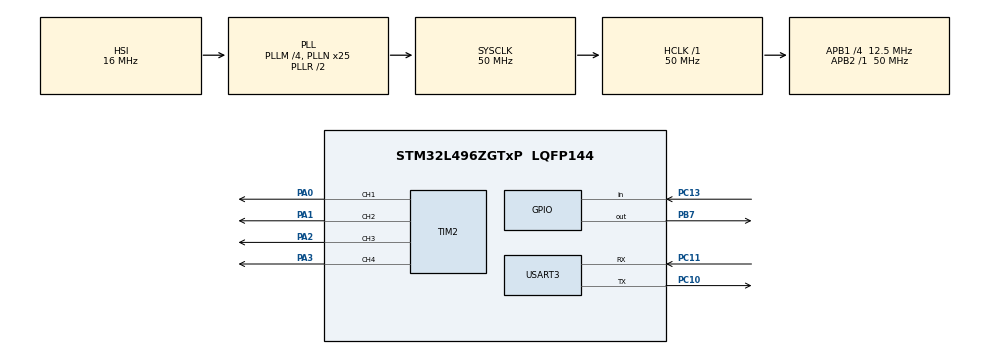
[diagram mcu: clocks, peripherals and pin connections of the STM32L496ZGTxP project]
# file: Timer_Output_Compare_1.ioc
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Mcu.Family=STM32L4
Mcu.Name=STM32L496ZGTxP
Mcu.Package=LQFP144
NVIC.PriorityGroup=NVIC_PRIORITYGROUP_4
NVIC.TIM2_IRQn=true\:0\:0\:false\:false\:true\:true\:true\:true
NVIC.USART3_IRQn=true\:0\:0\:false\:false\:true\:true\:true\:true
PA0.Signal=S_TIM2_CH1
PA1.Signal=S_TIM2_CH2
PA2.Signal=S_TIM2_CH3
PA3.Signal=S_TIM2_CH4
PB7.Signal=GPIO_Output
PC10.Mode=Asynchronous
PC10.Signal=USART3_TX
PC11.Mode=Asynchronous
PC11.Signal=USART3_RX
PC13.Signal=GPIO_Input
ProjectManager.HeapSize=0x200
ProjectManager.StackSize=0x400
ProjectManager.TargetToolchain=STM32CubeIDE
RCC.48MHZClocksFreq_Value=24000000
RCC.ADCFreq_Value=40000000
RCC.AHBFreq_Value=50000000
RCC.APB1CLKDivider=RCC_HCLK_DIV4
RCC.APB1Freq_Value=12500000
RCC.APB1TimFreq_Value=25000000
RCC.APB2Freq_Value=50000000
RCC.APB2TimFreq_Value=50000000
RCC.CortexFreq_Value=50000000
RCC.HCLKFreq_Value=50000000
RCC.HSE_VALUE=8000000
RCC.HSI48_VALUE=48000000
RCC.HSI_VALUE=16000000
RCC.LSE_VALUE=32768
RCC.MSI_VALUE=4000000
RCC.PLLM=4
RCC.PLLMUL=RCC_PLL_MUL9
RCC.PLLN=25
RCC.PLLSAI1N=20
RCC.PLLSourceVirtual=RCC_PLLSOURCE_HSI
RCC.PRESCALERUSB=RCC_USBCLKSOURCE_PLL_DIV1_5
RCC.SYSCLKFreq_VALUE=50000000
RCC.SYSCLKSource=RCC_SYSCLKSOURCE_PLLCLK
RCC.SYSCLKSourceVirtual=RCC_SYSCLKSOURCE_PLLCLK
RCC.USBFreq_Value=40000000
RCC.VCOOutputFreq_Value=100000000
SH.S_TIM2_CH1.0=TIM2_CH1,Output Compare1 CH1
SH.S_TIM2_CH2.0=TIM2_CH2,Output Compare2 CH2
SH.S_TIM2_CH3.0=TIM2_CH3,Output Compare3 CH3
SH.S_TIM2_CH4.0=TIM2_CH4,Output Compare4 CH4
TIM2.Channel-Output\ Compare1\ CH1=TIM_CHANNEL_1
TIM2.Channel-Output\ Compare2\ CH2=TIM_CHANNEL_2
TIM2.Channel-Output\ Compare3\ CH3=TIM_CHANNEL_3
TIM2.Channel-Output\ Compare4\ CH4=TIM_CHANNEL_4
TIM2.OCMode_1=TIM_OCMODE_TOGGLE
TIM2.OCMode_2=TIM_OCMODE_TOGGLE
TIM2.OCMode_3=TIM_OCMODE_TOGGLE
TIM2.OCMode_4=TIM_OCMODE_TOGGLE
TIM2.Pulse-Output\ Compare1\ CH1=25000
USART3.VirtualMode-Asynchronous=VM_ASYNC
board=NUCLEO-L496ZG-P

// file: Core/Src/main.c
/* USER CODE BEGIN Header */
/**
  ******************************************************************************
  * @file           : main.c
  * @brief          : Main program body
  ******************************************************************************
  * @attention
  *
  * Copyright (c) 2023 STMicroelectronics.
  * All rights reserved.
  *
  * This software is licensed under terms that can be found in the LICENSE file
  * in the root directory of this software component.
  * If no LICENSE file comes with this software, it is provided AS-IS.
  *
  ******************************************************************************
  */
/* USER CODE END Header */
#include "main.h"

/* USER CODE BEGIN Includes */
#include<string.h>
#include<stdio.h>
/* USER CODE END Includes */

/* USER CODE BEGIN PM */
#define TRUE 1
#define FALSE 0
/* USER CODE END PM */

TIM_HandleTypeDef htim2;

UART_HandleTypeDef huart3;

/* USER CODE BEGIN PV */
uint32_t pulse1_value = 25000; //to produce 500Hz
uint32_t pulse2_value = 12500; // to produce 1000Hz
uint32_t pulse3_value = 6250; // to produce 2000Hz
uint32_t pulse4_value = 3125; // to produce 4000Hz

/* USER CODE END PV */

void SystemClock_Config(void);
static void MX_GPIO_Init(void);
static void MX_TIM2_Init(void);
static void MX_USART3_UART_Init(void);

int main(void)
{
  /* USER CODE BEGIN 1 */
char msg[100];
  /* USER CODE END 1 */

  /* MCU Configuration--------------------------------------------------------*/

  /* Reset of all peripherals, Initializes the Flash interface and the Systick. */
  HAL_Init();

  /* Configure the system clock */
  SystemClock_Config();

  /* Initialize all configured peripherals */
  MX_GPIO_Init();
  MX_TIM2_Init();
  MX_USART3_UART_Init();
  /* USER CODE BEGIN 2 */

strcpy(msg,"\n\rApplication is Running");
HAL_UART_Transmit(&huart3, (uint8_t*)msg, strlen(msg), HAL_MAX_DELAY);
  /* USER CODE END 2 */

  /* Infinite loop */
  while (1)
  {

    /* USER CODE BEGIN 3 */
	  while( ! HAL_GPIO_ReadPin(GPIOC, GPIO_PIN_13));
	  HAL_Delay(200);
	  strcpy(msg,"\n\rIn a while Loop");
	  HAL_UART_Transmit(&huart3, (uint8_t*)msg, strlen(msg), HAL_MAX_DELAY);

	  if( HAL_TIM_OC_Start_IT(&htim2, TIM_CHANNEL_1) != HAL_OK ){

		  Error_Handler();
	  }
	  if( HAL_TIM_OC_Start_IT(&htim2, TIM_CHANNEL_2) != HAL_OK ){

		  Error_Handler();
	  }
	  if( HAL_TIM_OC_Start_IT(&htim2, TIM_CHANNEL_3) != HAL_OK ){

		  Error_Handler();
	  }
	  if( HAL_TIM_OC_Start_IT(&htim2, TIM_CHANNEL_4) != HAL_OK ){

		  Error_Handler();
	  }

  }
  /* USER CODE END 3 */
}

void SystemClock_Config(void)
{
  RCC_OscInitTypeDef RCC_OscInitStruct = {0};
  RCC_ClkInitTypeDef RCC_ClkInitStruct = {0};

  /** Configure the main internal regulator output voltage
  */
  if (HAL_PWREx_ControlVoltageScaling(PWR_REGULATOR_VOLTAGE_SCALE1) != HAL_OK)
  {
    Error_Handler();
  }

  /** Initializes the RCC Oscillators according to the specified parameters
  * in the RCC_OscInitTypeDef structure.
  */
  RCC_OscInitStruct.OscillatorType = RCC_OSCILLATORTYPE_HSI;
  RCC_OscInitStruct.HSIState = RCC_HSI_ON;
  RCC_OscInitStruct.HSICalibrationValue = RCC_HSICALIBRATION_DEFAULT;
  RCC_OscInitStruct.PLL.PLLState = RCC_PLL_ON;
  RCC_OscInitStruct.PLL.PLLSource = RCC_PLLSOURCE_HSI;
  RCC_OscInitStruct.PLL.PLLM = 4;
  RCC_OscInitStruct.PLL.PLLN = 25;
  RCC_OscInitStruct.PLL.PLLP = RCC_PLLP_DIV2;
  RCC_OscInitStruct.PLL.PLLQ = RCC_PLLQ_DIV2;
  RCC_OscInitStruct.PLL.PLLR = RCC_PLLR_DIV2;
  if (HAL_RCC_OscConfig(&RCC_OscInitStruct) != HAL_OK)
  {
    Error_Handler();
  }

  /** Initializes the CPU, AHB and APB buses clocks
  */
  RCC_ClkInitStruct.ClockType = RCC_CLOCKTYPE_HCLK|RCC_CLOCKTYPE_SYSCLK
                              |RCC_CLOCKTYPE_PCLK1|RCC_CLOCKTYPE_PCLK2;
  RCC_ClkInitStruct.SYSCLKSource = RCC_SYSCLKSOURCE_PLLCLK;
  RCC_ClkInitStruct.AHBCLKDivider = RCC_SYSCLK_DIV1;
  RCC_ClkInitStruct.APB1CLKDivider = RCC_HCLK_DIV4;
  RCC_ClkInitStruct.APB2CLKDivider = RCC_HCLK_DIV1;

  if (HAL_RCC_ClockConfig(&RCC_ClkInitStruct, FLASH_LATENCY_3) != HAL_OK)
  {
    Error_Handler();
  }
}

static void MX_TIM2_Init(void)
{

  TIM_MasterConfigTypeDef sMasterConfig = {0};
  TIM_OC_InitTypeDef sConfigOC = {0};

  htim2.Instance = TIM2;
  htim2.Init.Prescaler = 0;
  htim2.Init.CounterMode = TIM_COUNTERMODE_UP;
  htim2.Init.Period = 4294967295;
  htim2.Init.ClockDivision = TIM_CLOCKDIVISION_DIV1;
  htim2.Init.AutoReloadPreload = TIM_AUTORELOAD_PRELOAD_DISABLE;
  if (HAL_TIM_OC_Init(&htim2) != HAL_OK)
  {
	  Error_Handler();
  }
  sMasterConfig.MasterOutputTrigger = TIM_TRGO_RESET;
  sMasterConfig.MasterSlaveMode = TIM_MASTERSLAVEMODE_DISABLE;
  if (HAL_TIMEx_MasterConfigSynchronization(&htim2, &sMasterConfig) != HAL_OK)
  {
	  Error_Handler();
  }
  sConfigOC.OCMode = TIM_OCMODE_TOGGLE;
  sConfigOC.Pulse = pulse1_value;
  sConfigOC.OCPolarity = TIM_OCPOLARITY_HIGH;
  sConfigOC.OCFastMode = TIM_OCFAST_DISABLE;
  if (HAL_TIM_OC_ConfigChannel(&htim2, &sConfigOC, TIM_CHANNEL_1) != HAL_OK)
  {
    Error_Handler();
  }

  sConfigOC.Pulse = pulse2_value;
  if (HAL_TIM_OC_ConfigChannel(&htim2, &sConfigOC, TIM_CHANNEL_2) != HAL_OK)
  {
    Error_Handler();
  }

  sConfigOC.Pulse = pulse3_value;
  if (HAL_TIM_OC_ConfigChannel(&htim2, &sConfigOC, TIM_CHANNEL_3) != HAL_OK)
  {
    Error_Handler();
  }

  sConfigOC.Pulse = pulse4_value;
  if (HAL_TIM_OC_ConfigChannel(&htim2, &sConfigOC, TIM_CHANNEL_4) != HAL_OK)
  {
    Error_Handler();
  }
  HAL_TIM_MspPostInit(&htim2);

}

static void MX_USART3_UART_Init(void)
{

  huart3.Instance = USART3;
  huart3.Init.BaudRate = 115200;
  huart3.Init.WordLength = UART_WORDLENGTH_8B;
  huart3.Init.StopBits = UART_STOPBITS_1;
  huart3.Init.Parity = UART_PARITY_NONE;
  huart3.Init.Mode = UART_MODE_TX_RX;
  huart3.Init.HwFlowCtl = UART_HWCONTROL_NONE;
  huart3.Init.OverSampling = UART_OVERSAMPLING_16;
  huart3.Init.OneBitSampling = UART_ONE_BIT_SAMPLE_DISABLE;
  huart3.AdvancedInit.AdvFeatureInit = UART_ADVFEATURE_NO_INIT;
  if (HAL_UART_Init(&huart3) != HAL_OK)
  {
    Error_Handler();
  }

}

static void MX_GPIO_Init(void)
{
  GPIO_InitTypeDef GPIO_InitStruct = {0};

  /* GPIO Ports Clock Enable */
  __HAL_RCC_GPIOC_CLK_ENABLE();
  __HAL_RCC_GPIOA_CLK_ENABLE();
  __HAL_RCC_GPIOB_CLK_ENABLE();

  /*Configure GPIO pin Output Level */
  HAL_GPIO_WritePin(GPIOB, GPIO_PIN_7, GPIO_PIN_RESET);

  /*Configure GPIO pin : PC13 */
  GPIO_InitStruct.Pin = GPIO_PIN_13;
  GPIO_InitStruct.Mode = GPIO_MODE_INPUT;
  GPIO_InitStruct.Pull = GPIO_NOPULL;
  HAL_GPIO_Init(GPIOC, &GPIO_InitStruct);

  /*Configure GPIO pin : PB7 */
  GPIO_InitStruct.Pin = GPIO_PIN_7;
  GPIO_InitStruct.Mode = GPIO_MODE_OUTPUT_PP;
  GPIO_InitStruct.Pull = GPIO_NOPULL;
  GPIO_InitStruct.Speed = GPIO_SPEED_FREQ_LOW;
  HAL_GPIO_Init(GPIOB, &GPIO_InitStruct);

}

/* USER CODE BEGIN 4 */

uint32_t ccr_content;
void HAL_TIM_OC_DelayElapsedCallback(TIM_HandleTypeDef *htim)
{
	/*TIM2_CH1 toggling with frequency = 500 Hz*/
	if(htim->Channel == HAL_TIM_ACTIVE_CHANNEL_1)
	{
		ccr_content = HAL_TIM_ReadCapturedValue(htim,TIM_CHANNEL_1);
		__HAL_TIM_SET_COMPARE(htim,TIM_CHANNEL_1,ccr_content+pulse1_value);
	}

	/*TIM2_CH1 toggling with frequency = 1000 Hz*/
	if(htim->Channel == HAL_TIM_ACTIVE_CHANNEL_2)
	{
		ccr_content = HAL_TIM_ReadCapturedValue(htim,TIM_CHANNEL_2);
		__HAL_TIM_SET_COMPARE(htim,TIM_CHANNEL_2,ccr_content+pulse2_value);
	}

	/*TIM2_CH1 toggling with frequency = 2000 Hz*/
	if(htim->Channel == HAL_TIM_ACTIVE_CHANNEL_3)
	{
		ccr_content = HAL_TIM_ReadCapturedValue(htim,TIM_CHANNEL_3);
		__HAL_TIM_SET_COMPARE(htim,TIM_CHANNEL_3,ccr_content+pulse3_value);
	}

	/*TIM2_CH1 toggling with frequency = 4000 Hz*/
	if(htim->Channel == HAL_TIM_ACTIVE_CHANNEL_4)
	{
		ccr_content = HAL_TIM_ReadCapturedValue(htim,TIM_CHANNEL_4);
		__HAL_TIM_SET_COMPARE(htim,TIM_CHANNEL_4,ccr_content+pulse4_value);
	}
}

/* USER CODE END 4 */

void Error_Handler(void)
{
  __disable_irq();
  while (1)
  {
  }
}
